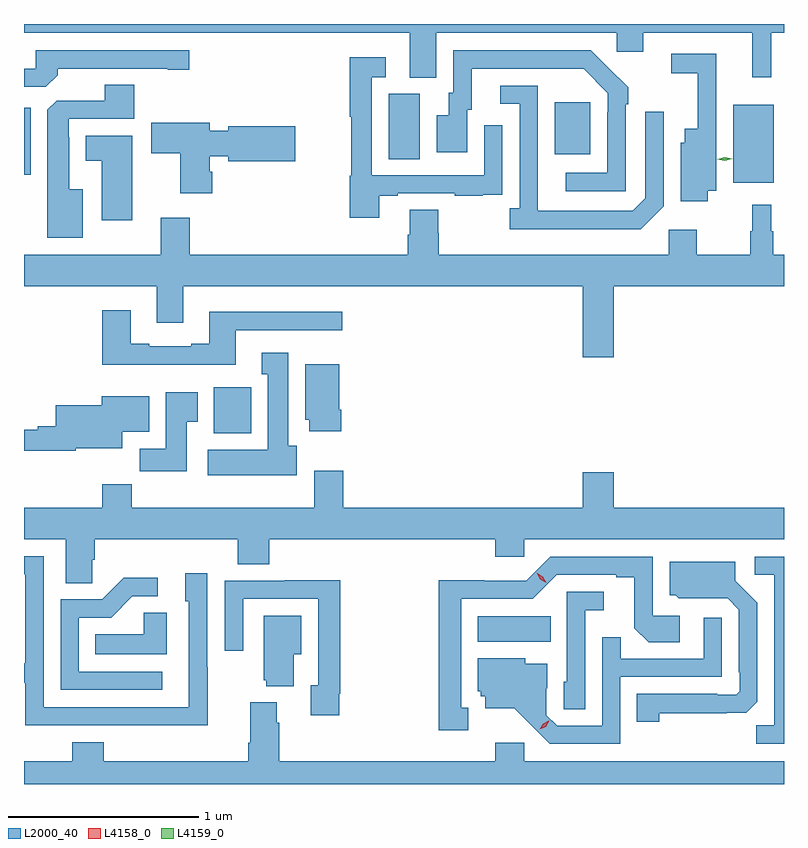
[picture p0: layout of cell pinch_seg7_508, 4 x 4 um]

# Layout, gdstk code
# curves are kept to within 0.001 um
import gdstk
lib = gdstk.Library(unit=1e-6, precision=1e-09)
def R(c, l, rs):  # rectangles x0, y0, x1, y1
    for r in rs: c.add(gdstk.rectangle(r[:2], r[2:], *l))
def P(c, l, *ps):  # polygons
    for p in ps: c.add(gdstk.Polygon(p, *l))
L2000_40 = (2000, 40)
L4158_0 = (4158, 0)
L4159_0 = (4159, 0)

pinch_seg7_508 = lib.new_cell('pinch_seg7_508')
R(pinch_seg7_508, L2000_40, [(128.492,1061.348,128.876,1061.482), (127.103,1062.446,127.3,1062.688), (129.836,1063.763,130.051,1064.173), (126.104,1063.805,126.139,1064.158), (128.024,1063.888,128.188,1064.232), (128.897,1063.913,129.085,1064.188)])
P(pinch_seg7_508, L2000_40, [(128.275,1064.552),(129.225,1064.552),(129.225,1064.454),(129.364,1064.454),(129.364,1064.552),(129.938,1064.552),(129.938,1064.319),(130.037,1064.319),(130.037,1064.552),(130.104,1064.552),(130.104,1064.599),(126.104,1064.599),(126.104,1064.552),(128.135,1064.552),(128.135,1064.317),(128.275,1064.317)],
  [(126.281,1064.33),(126.281,1064.364),(126.86,1064.364),(126.86,1064.359),(126.973,1064.359),(126.973,1064.46),(126.165,1064.46),(126.165,1064.364),(126.104,1064.364),(126.104,1064.268),(126.219,1064.268)],
  [(129.27,1064.177),(129.285,1064.177),(129.285,1064.265),(129.088,1064.46),(128.364,1064.46),(128.364,1064.238),(128.339,1064.238),(128.339,1064.119),(128.276,1064.119),(128.276,1063.923),(128.437,1063.923),(128.437,1064.148),(128.461,1064.148),(128.461,1064.364),(129.049,1064.364),(129.177,1064.235),(129.177,1064.135),(129.174,1064.135),(129.174,1063.815),(128.955,1063.815),(128.955,1063.719),(129.27,1063.719)],
  [(129.703,1063.721),(129.748,1063.721),(129.748,1063.943),(129.747,1063.943),(129.747,1064.442),(129.51,1064.442),(129.51,1064.341),(129.65,1064.341),(129.65,1064.047),(129.581,1064.047),(129.581,1063.974),(129.56,1063.974),(129.56,1063.667),(129.703,1063.667)],
  [(127.975,1063.695),(128.071,1063.695),(128.071,1063.707),(128.371,1063.707),(128.371,1063.695),(128.519,1063.695),(128.519,1063.701),(128.621,1063.701),(128.621,1063.81),(128.622,1063.81),(128.622,1064.065),(128.526,1064.065),(128.526,1063.803),(127.935,1063.803),(127.935,1064.319),(128.008,1064.319),(128.008,1064.425),(127.819,1064.425),(127.819,1064.112),(127.827,1064.112),(127.827,1063.8),(127.819,1063.8),(127.819,1063.578),(127.975,1063.578)],
  [(126.412,1063.729),(126.343,1063.729),(126.343,1064.003),(126.339,1064.003),(126.339,1064.1),(126.683,1064.1),(126.683,1064.279),(126.53,1064.279),(126.53,1064.196),(126.276,1064.196),(126.227,1064.147),(126.227,1063.475),(126.412,1063.475)],
  [(129.471,1063.641),(129.471,1064.137),(129.375,1064.137),(129.375,1063.683),(129.309,1063.617),(128.809,1063.617),(128.808,1064.274),(128.61,1064.274),(128.61,1064.178),(128.712,1064.178),(128.712,1063.63),(128.661,1063.63),(128.661,1063.52),(129.35,1063.52)],
  [(127.094,1063.821),(127.081,1063.821),(127.081,1063.902),(127.178,1063.902),(127.178,1063.877),(127.531,1063.877),(127.531,1064.06),(127.178,1064.06),(127.178,1064.036),(127.081,1064.036),(127.081,1064.08),(126.774,1064.08),(126.774,1063.918),(126.926,1063.918),(126.926,1063.707),(127.094,1063.707)],
  [(126.673,1064.011),(126.428,1064.011),(126.428,1063.88),(126.512,1063.88),(126.512,1063.566),(126.673,1063.566)],
  [(129.208,1063.22),(130.104,1063.22),(130.104,1063.384),(130.048,1063.384),(130.048,1063.508),(130.036,1063.508),(130.036,1063.648),(129.937,1063.648),(129.937,1063.508),(129.927,1063.508),(129.927,1063.384),(129.645,1063.384),(129.645,1063.516),(129.498,1063.516),(129.498,1063.384),(128.288,1063.384),(128.288,1063.497),(128.283,1063.497),(128.283,1063.622),(128.135,1063.622),(128.135,1063.49),(128.123,1063.49),(128.123,1063.384),(126.977,1063.384),(126.977,1063.579),(126.824,1063.579),(126.824,1063.384),(126.104,1063.384),(126.104,1063.22),(126.803,1063.22),(126.803,1063.026),(126.943,1063.026),(126.943,1063.22),(129.044,1063.22),(129.044,1062.846),(129.208,1062.846)],
  [(127.219,1062.987),(127.78,1062.987),(127.78,1063.084),(127.079,1063.084),(127.079,1062.916),(126.983,1062.916),(126.983,1062.903),(126.763,1062.903),(126.763,1062.916),(126.667,1062.916),(126.667,1063.093),(126.515,1063.093),(126.515,1062.806),(127.219,1062.806)],
  [(127.54,1062.378),(127.495,1062.378),(127.495,1062.868),(127.355,1062.868),(127.355,1062.755),(127.388,1062.755),(127.388,1062.358),(127.071,1062.358),(127.071,1062.224),(127.54,1062.224)],
  [(127.775,1062.568),(127.762,1062.568),(127.762,1062.808),(127.583,1062.808),(127.583,1062.516),(127.604,1062.516),(127.604,1062.456),(127.775,1062.456)],
  [(126.961,1062.505),(127.018,1062.505),(127.018,1062.661),(126.851,1062.661),(126.851,1062.364),(126.712,1062.364),(126.712,1062.246),(126.961,1062.246)],
  [(126.376,1062.365),(126.622,1062.365),(126.622,1062.452),(126.763,1062.452),(126.763,1062.64),(126.512,1062.64),(126.512,1062.592),(126.272,1062.592),(126.272,1062.482),(126.176,1062.482),(126.176,1062.464),(126.104,1062.464),(126.104,1062.354),(126.376,1062.354)],
  [(126.462,1061.779),(126.476,1061.779),(126.476,1061.888),(127.229,1061.888),(127.229,1061.755),(127.394,1061.755),(127.394,1061.888),(128.585,1061.888),(128.585,1061.795),(128.736,1061.795),(128.736,1061.888),(130.104,1061.888),(130.104,1062.052),(129.208,1062.052),(129.208,1062.241),(129.044,1062.241),(129.044,1062.052),(127.784,1062.052),(127.784,1062.247),(127.631,1062.247),(127.631,1062.052),(126.671,1062.052),(126.671,1062.176),(126.515,1062.176),(126.515,1062.052),(126.104,1062.052),(126.104,1061.888),(126.323,1061.888),(126.323,1061.656),(126.462,1061.656)],
  [(127.071,1061.213),(127.068,1061.213),(127.068,1061.707),(126.953,1061.707),(126.953,1061.562),(126.972,1061.562),(126.972,1061.004),(126.207,1061.004),(126.207,1061.799),(126.104,1061.799),(126.104,1061.703),(126.111,1061.703),(126.111,1061.234),(126.104,1061.234),(126.104,1061.133),(126.111,1061.133),(126.111,1060.908),(126.607,1060.908),(126.607,1060.907),(127.071,1060.907)],
  [(128.443,1061.001),(128.404,1061.001),(128.404,1061.574),(128.781,1061.574),(128.907,1061.7),(129.221,1061.7),(129.221,1061.688),(129.315,1061.688),(129.315,1061.42),(129.391,1061.344),(129.556,1061.344),(129.556,1061.484),(129.414,1061.484),(129.414,1061.796),(128.874,1061.796),(128.748,1061.67),(128.526,1061.67),(128.526,1061.672),(128.286,1061.672),(128.286,1060.881),(128.443,1060.881)],
  [(130.104,1061.796),(129.951,1061.796),(129.951,1061.7),(130.053,1061.7),(130.053,1060.907),(129.958,1060.907),(129.958,1060.812),(130.104,1060.812)],
  [(129.447,1060.972),(129.904,1060.973),(129.963,1061.032),(129.963,1061.554),(129.847,1061.67),(129.847,1061.77),(129.503,1061.77),(129.503,1061.592),(129.534,1061.592),(129.55,1061.576),(129.807,1061.577),(129.867,1061.517),(129.867,1061.188),(129.87,1061.188),(129.87,1061.088),(129.852,1061.07),(129.752,1061.07),(129.752,1061.073),(129.328,1061.073),(129.328,1060.926),(129.447,1060.926)],
  [(126.832,1061.19),(126.393,1061.19),(126.393,1061.475),(126.562,1061.475),(126.673,1061.586),(126.808,1061.586),(126.808,1061.684),(126.629,1061.684),(126.516,1061.571),(126.297,1061.571),(126.297,1061.094),(126.832,1061.094)],
  [(127.762,1061.074),(127.769,1061.074),(127.769,1061.672),(127.477,1061.672),(127.477,1061.67),(127.161,1061.67),(127.161,1061.301),(127.257,1061.301),(127.257,1061.574),(127.653,1061.574),(127.653,1061.118),(127.613,1061.118),(127.613,1060.962),(127.762,1060.962)],
  [(129.057,1061.513),(129.154,1061.513),(129.154,1061.61),(128.961,1061.61),(128.961,1061.136),(128.946,1061.136),(128.946,1060.993),(129.057,1060.993)],
  [(126.856,1061.501),(126.735,1061.501),(126.735,1061.386),(126.478,1061.386),(126.478,1061.282),(126.856,1061.282)],
  [(127.525,1061.282),(127.564,1061.282),(127.564,1061.485),(127.367,1061.485),(127.367,1061.145),(127.379,1061.145),(127.379,1061.114),(127.525,1061.114)],
  [(129.243,1061.163),(129.777,1061.163),(129.777,1061.473),(129.681,1061.473),(129.681,1061.259),(129.245,1061.259),(129.245,1061.372),(129.147,1061.372),(129.147,1060.905),(128.91,1060.905),(128.853,1060.962),(128.853,1061.104),(128.857,1061.104),(128.857,1061.233),(128.742,1061.233),(128.742,1061.26),(128.492,1061.26),(128.492,1061.088),(128.508,1061.088),(128.508,1061.061),(128.531,1061.061),(128.531,1060.997),(128.683,1060.997),(128.87,1060.812),(129.243,1060.812)],
  [(130.104,1060.72),(128.736,1060.72),(128.736,1060.816),(128.585,1060.816),(128.585,1060.72),(127.448,1060.72),(127.448,1060.922),(127.435,1060.922),(127.435,1061.029),(127.295,1061.029),(127.295,1060.816),(127.283,1060.816),(127.283,1060.72),(126.524,1060.72),(126.524,1060.819),(126.359,1060.819),(126.359,1060.72),(126.104,1060.72),(126.104,1060.599),(130.104,1060.599)])
P(pinch_seg7_508, L4158_0, [(128.819,1060.886),(128.819,1060.886),(128.837,1060.916),(128.867,1060.932),(128.868,1060.932),(128.868,1060.931),(128.85,1060.901),(128.819,1060.886)],
  [(128.852,1061.658),(128.82,1061.677),(128.803,1061.71),(128.803,1061.71),(128.803,1061.71),(128.834,1061.691),(128.852,1061.658),(128.852,1061.658)])
P(pinch_seg7_508, L4159_0, [(129.792,1063.879),(129.753,1063.888),(129.752,1063.888),(129.753,1063.888),(129.792,1063.899),(129.831,1063.89),(129.831,1063.89),(129.831,1063.889)])

lib.write_gds('pinch_seg7_508.gds')
